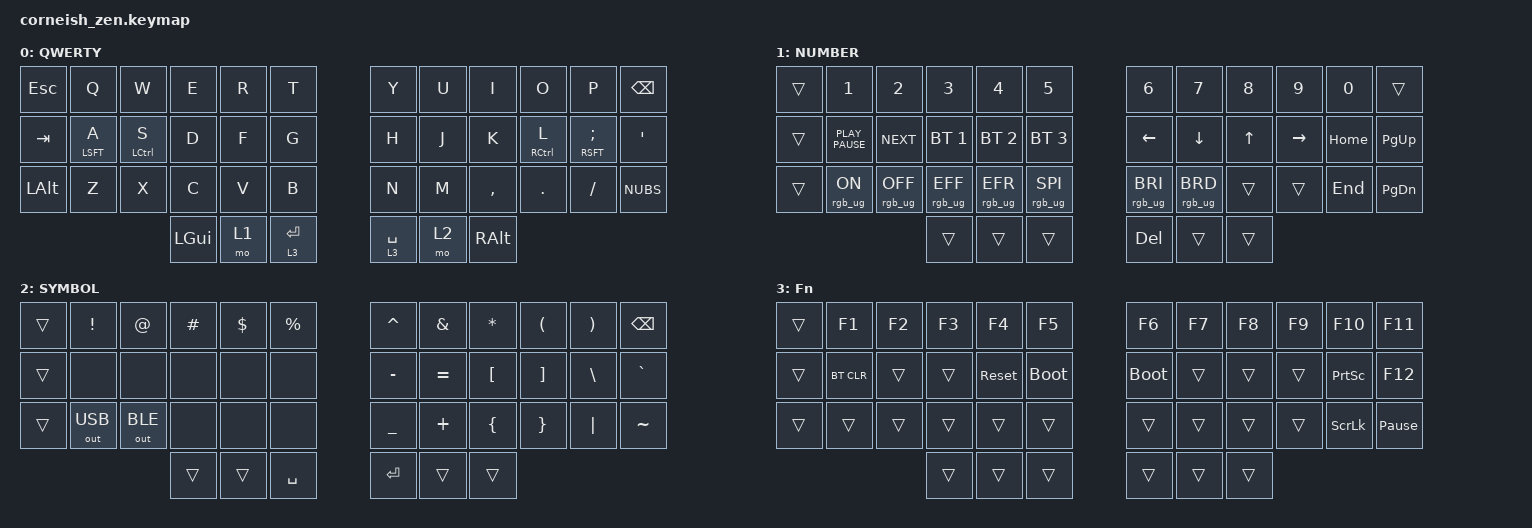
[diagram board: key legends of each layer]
/*
 * Copyright (c) 2020 The ZMK Contributors
 *
 * SPDX-License-Identifier: MIT
 */

#include <behaviors.dtsi>
#include <dt-bindings/zmk/bt.h>
#include <dt-bindings/zmk/keys.h>
#include <dt-bindings/zmk/outputs.h>
#include <dt-bindings/zmk/rgb.h>

/ {
    chosen {
        //
zmk,matrix_transform = &default_transform;
        zmk,physical-layout = &foostan_corne_6col_layout;

        // zmk,matrix_transform = &five_column_transform;
    };
};

/ {
    behaviors {
        td0: td0 {
            compatible = "zmk,behavior-tap-dance";
            label = "TD0";
            #binding-cells = <0>;
            bindings = <&kp LEFT_SHIFT>, <&kp CAPS>;
        };
        td1: td1 {
            compatible = "zmk,behavior-tap-dance";
            label = "TD1";
            #binding-cells = <0>;
            bindings = <&kp RIGHT_SHIFT>, <&kp ESC>;
        };
        lh_pht: left_positional_hold_tap {
          compatible = "zmk,behavior-hold-tap";
          #binding-cells = <2>;
          flavor = "tap-unless-interrupted";
          tapping-term-ms = <100>;                        // <---[[produces tap if held longer than tapping-term-ms]]
          quick-tap-ms = <200>;
          bindings = <&kp>, <&kp>;
          hold-trigger-key-positions = <6 7 8 9 10 11>;    // <---[[right-hand keys]]
        };
        rh_pht: right_positional_hold_tap {
          compatible = "zmk,behavior-hold-tap";
          #binding-cells = <2>;
          flavor = "tap-unless-interrupted";
          tapping-term-ms = <100>;                        // <---[[produces tap if held longer than tapping-term-ms]]
          quick-tap-ms = <200>;
          bindings = <&kp>, <&kp>;
          hold-trigger-key-positions = <0 1 2 3 4 5>;    // <---[[left-hand keys]]
        };
        bhm: balanced_homerow_mods {
            compatible = "zmk,behavior-hold-tap";
            #binding-cells = <2>;
            tapping-term-ms = <200>;    // <---[[moderate duration]]
            quick-tap-ms = <0>;
            flavor = "balanced";
            bindings = <&kp>, <&kp>;
        };
    };

    keymap {
        compatible = "zmk,keymap";



        default_layer {
            display-name = "QWERTY";

            // --------------------------------------------------------------------------------
            // |  ESC |  Q  |  W  |  E  |  R  |  T  |   |  Y  |  U   |  I  |  O  |  P  | BKSP |
            // |  TAB |S(A) |C(S) |  D  |  F  |  G  |   |  H  |  J   |  K  |  L  |  ;  |  '   | 
            // | ALT |  Z  |  X  |  C  |  V  |  B  |   |  N  |  M   |  ,  |  .  |  /  | \ |
            //                    | GUI | LWR | ENT |   | SPC | RSE  | ALT |

            bindings = <
&kp ESC    &kp Q  &kp W  &kp E     &kp R  &kp T          &kp Y        &kp U  &kp I      &kp O    &kp P     &kp BSPC
&kp TAB  &bhm LSFT A  &bhm LCTL S  &kp D     &kp F  &kp G          &kp H        &kp J  &kp K      &bhm RCTL L    &bhm RSFT SEMI  &kp SQT
&kp LALT       &kp Z  &kp X  &kp C     &kp V  &kp B          &kp N        &kp M  &kp COMMA  &kp DOT  &kp FSLH  &kp NUBS 
                         &kp LGUI  &mo 1  &lt 3 ENTER    &lt 3 SPACE  &mo 2  &kp RALT
            >;
        };

        lower_layer {
            display-name = "NUMBER";

            // -----------------------------------------------------------------------------------------
            // |      |  1  |  2  |  3  |  4  |  5  |   |  6  |  7  |  8  |  9  |  0  |      |
            // |      | PP  |NEXT | BT1 | BT2 | BT3 |   | LFT | DWN |  UP | RGT |HOME | UP   |
            // |     |RGBON|RGBOFF| EFF | EFR |SPI  |   |BRI  | BRD |     |     |END  | DN   |
            //                    |     |     |     |   | ENT |     |     |

            bindings = <
&trans  &kp N1           &kp N2          &kp N3        &kp N4        &kp N5             &kp N6           &kp N7           &kp N8   &kp N9      &kp N0    &trans
&trans  &kp K_PLAY_PAUSE  &kp K_NEXT &bt BT_SEL 1  &bt BT_SEL 2  &bt BT_SEL 3           &kp LEFT         &kp DOWN         &kp UP   &kp RIGHT   &kp HOME  &kp PG_UP
&trans  &rgb_ug RGB_ON &rgb_ug RGB_OFF &rgb_ug RGB_EFF &rgb_ug RGB_EFR &rgb_ug RGB_SPI  &rgb_ug RGB_BRI  &rgb_ug RGB_BRD  &trans   &trans      &kp END   &kp PG_DN
                                         &trans        &trans        &trans             &kp DEL          &trans          &trans
            >;
        };

        raise_layer {
            display-name = "SYMBOL";

            // -----------------------------------------------------------------------------------------
            // |  TAB |  !  |  @  |  #  |  $  |  %  |   |  ^  |  &  |  *  |  (  |  )  | BKSP |
            // | CTRL |     |     |     |     |     |   |  -  |  =  |  [  |  ]  |  \  |  `   |
            // | SHFT |     |     |     |     |     |   |  _  |  +  |  {  |  }  | "|" |  ~   |
            //                    | GUI |     | SPC |   | ENT |     | ALT |

            bindings = <
&trans  &kp EXCL      &kp AT        &kp HASH  &kp DLLR  &kp PRCNT    &kp CARET  &kp AMPS   &kp ASTRK  &kp LPAR  &kp RPAR  &kp BSPC
&trans  &none         &none         &none     &none     &none        &kp MINUS  &kp EQUAL  &kp LBKT   &kp RBKT  &kp BSLH  &kp GRAVE
&trans  &out OUT_USB  &out OUT_BLE  &none     &none     &none        &kp UNDER  &kp PLUS   &kp LBRC   &kp RBRC  &kp PIPE  &kp TILDE
                                    &trans    &trans    &kp SPACE    &kp RET    &trans     &trans
            >;
        };

        layer_3 {
            display-name = "Fn";
            bindings = <
&trans  &kp F1      &kp F2  &kp F3  &kp F4      &kp F5         &kp F6       &kp F7  &kp F8  &kp F9  &kp F10          &kp F11
&trans  &bt BT_CLR  &trans  &trans  &sys_reset  &bootloader    &bootloader  &trans  &trans  &trans  &kp PRINTSCREEN  &kp F12
&trans  &trans      &trans  &trans  &trans      &trans         &trans       &trans  &trans  &trans  &kp SCROLLLOCK   &kp PAUSE_BREAK
                            &trans  &trans      &trans         &trans       &trans  &trans
            >;
        };
    };
};
